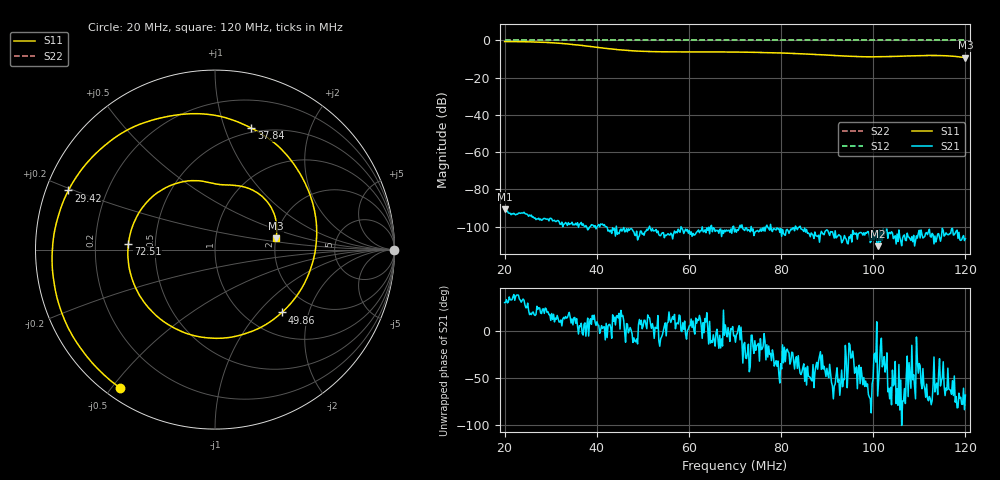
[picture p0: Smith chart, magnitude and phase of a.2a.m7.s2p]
! Anritsu VNA Master:  Model: MS2036C/10/77
! SN:  1601066
! /bd0/18may09/252.ew.m7.s2p
! Existing Calibration Information:
! TYPE:  Current Settings,  Active Cal Settings
! TIME:  05/09/2018 08:22:29 AM,  05/09/2018 08:17:55 AM
! INTERNAL TEMP:  41.0 C,  41.3 C
! # POINTS:  500,  500
! START FREQ:  20.000 MHz,  20.000 MHz
! STOP FREQ:  120.000 MHz,  120.000 MHz
! SOURCE POWER:  High,  High
! IFBW:  50 Hz,  50 Hz
! AVG FACTOR:  1 ,  1
! REF PLANE 1:  0 mm,  0 mm
! REF PLANE 2:  0 mm,  0 mm
! CAL TYPE:  Full S11,  Full S11
! CAL METHOD:  SOLT,  SOLT
! CAL LINE TYPE:  Coax,  Coax
! DUT PORT 1:  K-Conn(F),  K-Conn(F)
! DUT PORT 2:  K-Conn(F),  K-Conn(F)
! CAL STATUS:  OK: Accuracy High,  --
# GHZ S DB R 50.0
! FREQ.GHZ  S11DB  S11A  S21DB  S21A  S12DB  S12A  S22DB  S22A
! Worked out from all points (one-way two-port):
!   500 points, 20 MHz to 120 MHz, reference 50 ohm
!   highest |S21| = -90.68 dB at 20 MHz (marker M1); lowest = -110.5 dB at 101 MHz (marker M2)
!   lowest |S11| = -9.2 dB at 120 MHz (marker M3), VSWR 2.05, Z = 100 + j14.3 ohm
!   |S11| at or under -10 dB: nowhere
!   |S22| runs from 0.0 to 0.0 dB; largest |S21 - S12| = 1
!   S11 on the Smith chart (normalised r, x): 20 MHz: 0.04, -0.53; 29.42 MHz: 0.07, +0.19; 37.84 MHz: 0.46, +1.24; 49.86 MHz: 1.43, -1.36; 72.51 MHz: 0.35, +0.03; 120 MHz: 2.00, +0.29
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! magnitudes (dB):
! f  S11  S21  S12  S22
! 20 MHz  -0.6  -90.7  0.0  0.0
! 24.81 MHz  -0.7  -93.2  0.0  0.0
! 29.42 MHz  -1.1  -95.9  0.0  0.0
! 32.63 MHz  -1.6  -100.0  0.0  0.0
! 36.83 MHz  -2.7  -99.3  0.0  0.0
! 37.84 MHz  -3.0  -100.3  0.0  0.0
! 44.45 MHz  -4.9  -104.1  0.0  0.0
! 46.85 MHz  -5.4  -101.1  0.0  0.0
! 49.86 MHz  -5.8  -104.0  0.0  0.0
! 53.47 MHz  -6.1  -104.3  0.0  0.0
! 70.1 MHz  -6.2  -101.3  0.0  0.0
! 72.51 MHz  -6.3  -100.6  0.0  0.0
! 80.12 MHz  -6.7  -105.2  0.0  0.0
! 86.73 MHz  -7.4  -104.0  0.0  0.0
! 96.15 MHz  -8.6  -104.0  0.0  0.0
! 98.16 MHz  -8.8  -104.5  0.0  0.0
! 101 MHz  -8.8  -110.5  0.0  0.0
! 103.4 MHz  -8.7  -103.3  0.0  0.0
! 110.2 MHz  -8.1  -106.1  0.0  0.0
! 113.6 MHz  -8.1  -108.2  0.0  0.0
! 117 MHz  -8.4  -101.2  0.0  0.0
! 120 MHz  -9.2  -106.4  0.0  0.0
